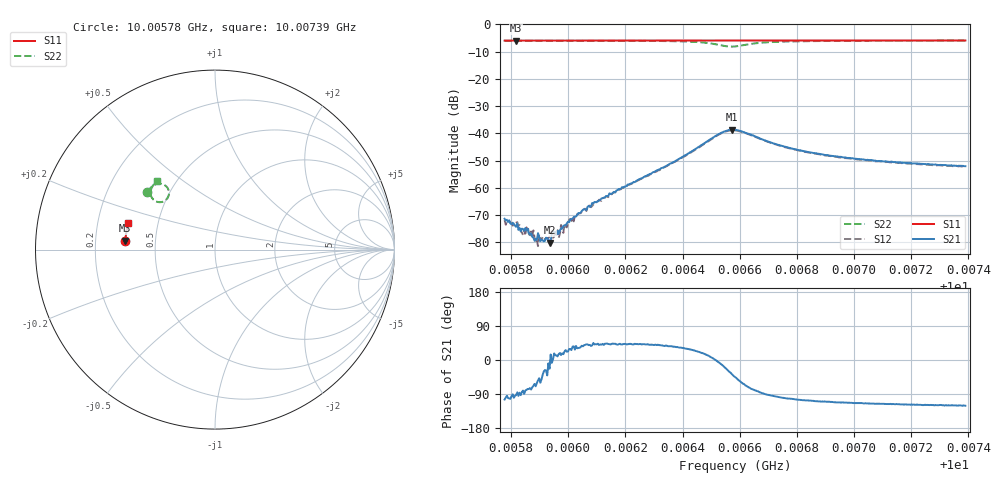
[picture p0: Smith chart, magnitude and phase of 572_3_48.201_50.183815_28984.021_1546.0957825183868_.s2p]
#  HZ  S  RI  R  50.00
! Rohde & Schwarz Vector Network Analyzer
! Rohde-Schwarz,ZNB20-2Port,1311601062101988,3.16
! Created: UTC 3/20/2024, 12:01:44 PM
! freq[Hz]  re:S11  im:S11  re:S21  im:S21  re:S12  im:S12  re:S22  im:S22
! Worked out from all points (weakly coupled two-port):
!   401 points, 10.00578 GHz to 10.00739 GHz, reference 50 ohm
!   highest |S21| = -38.70 dB at 10.00657 GHz (marker M1); lowest = -80.1 dB at 10.00593 GHz (marker M2)
!   lowest |S11| = -6.0 dB at 10.00582 GHz (marker M3), VSWR 3.01, Z = 16.6 + j2.19 ohm
!   |S11| at or under -10 dB: nowhere
!   |S22| runs from -8.2 to -6.0 dB; largest |S21 - S12| = 0.0008
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1.0005777e10  -0.4998 0.0467  -6.73e-05 -0.000262  -4.25e-06 -0.000255  -0.3788 0.3227
1.0005818e10  -0.4994 0.0493  -8.18e-06 -0.000193  -1.47e-06 -0.00023  -0.3768 0.3252
1.0005842e10  -0.4994 0.0511  2.83e-05 -0.000173  1.88e-05 -0.000135  -0.3754 0.3265
1.0005862e10  -0.4993 0.0523  3.35e-05 -0.000141  6.76e-05 -0.000135  -0.3746 0.3279
1.0005882e10  -0.4992 0.0536  4.87e-05 -9.59e-05  6.46e-05 -0.000102  -0.3733 0.3291
1.0005894e10  -0.4992 0.0545  8.71e-05 -0.000119  2.78e-05 -8.03e-05  -0.3728 0.3298
1.000591e10  -0.4991 0.0555  8.45e-05 -6.96e-05  0.000107 -6.92e-05  -0.372 0.331
1.0005935e10  -0.4989 0.057  9.06e-05 -3.86e-05  0.000124 -2.74e-05  -0.3705 0.3324
1.0005951e10  -0.4988 0.0581  0.000141 4.35e-05  0.000125 1.72e-05  -0.3696 0.3335
1.0005975e10  -0.4987 0.0597  0.000177 4.12e-05  0.000192 8.18e-05  -0.3684 0.335
1.0006007e10  -0.4986 0.0619  0.000228 0.000127  0.000237 0.000127  -0.3663 0.3373
1.0006048e10  -0.4982 0.0643  0.000298 0.000229  0.000294 0.000222  -0.3636 0.3398
1.0006092e10  -0.4979 0.0673  0.000414 0.000362  0.000381 0.000353  -0.3606 0.343
1.0006318e10  -0.4962 0.0819  0.00168 0.00138  0.00158 0.00137  -0.3368 0.3606
1.0006479e10  -0.4942 0.0924  0.00645 0.00177  0.0062 0.00203  -0.284 0.3612
1.0006535e10  -0.4932 0.0956  0.01 -0.00199  0.00986 -0.00138  -0.2564 0.321
1.0006572e10  -0.4928 0.0975  0.00936 -0.00686  0.00949 -0.00614  -0.272 0.2781
1.0006584e10  -0.4927 0.0981  0.00812 -0.00806  0.00844 -0.0075  -0.2851 0.2691
1.0006672e10  -0.4924 0.1036  0.000574 -0.00795  0.001 -0.00782  -0.3529 0.2913
1.0006854e10  -0.4906 0.1155  -0.00134 -0.00418  -0.00111 -0.00417  -0.3544 0.3399
1.0007124e10  -0.4868 0.1325  -0.00132 -0.00268  -0.00118 -0.00269  -0.3384 0.366
1.000739e10  -0.4825 0.1495  -0.00127 -0.00214  -0.00114 -0.00219  -0.3238 0.3822
